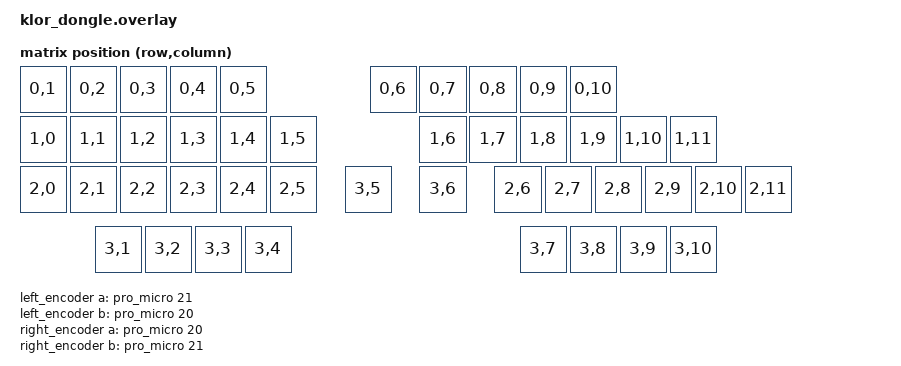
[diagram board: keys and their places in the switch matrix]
/*
 * Copyright (c) 2022 The ZMK Contributors
 *
 * SPDX-License-Identifier: MIT
 */

#include <dt-bindings/zmk/matrix_transform.h>
#include <dt-bindings/led/led.h>
#include <physical_layouts.dtsi>

/ {
	chosen {
		zmk,kscan = &mock_kscan;
		zmk,physical-layout = &default_layout;
		zmk,underglow = &led_strip;
	};

	mock_kscan: mock_kscan_0 {
		compatible = "zmk,kscan-mock";
		columns = <0>;
		rows = <0>;
		events = <0>;
	};

	// The dongle has no physical encoders, but the shared keymap's
	// &sensors {...} block (setting triggers-per-rotation) needs these
	// labels to resolve here too - central owns sensor-bindings, so it
	// needs the same zmk,keymap-sensors shape as the halves. Left
	// disabled; the a/b-gpios just reuse the same pro_micro pin refs
	// klor_common.dtsi uses so the alps,ec11 binding validates, even
	// though nothing is physically wired there on this board.
	left_encoder: encoder_left {
		compatible = "alps,ec11";
		label = "LEFT_ENCODER";
		a-gpios = <&pro_micro 21 (GPIO_ACTIVE_HIGH | GPIO_PULL_UP)>;
		b-gpios = <&pro_micro 20 (GPIO_ACTIVE_HIGH | GPIO_PULL_UP)>;
		steps = <30>;
		status = "disabled";
	};

	right_encoder: encoder_right {
		compatible = "alps,ec11";
		label = "RIGHT_ENCODER";
		a-gpios = <&pro_micro 20 (GPIO_ACTIVE_HIGH | GPIO_PULL_UP)>;
		b-gpios = <&pro_micro 21 (GPIO_ACTIVE_HIGH | GPIO_PULL_UP)>;
		steps = <30>;
		status = "disabled";
	};

	sensors: sensors {
		compatible = "zmk,keymap-sensors";
		sensors = <&left_encoder &right_encoder>;
	};

	// Haptic feedback send side - the dongle has no DRV2605/LRA of its
	// own, so lra0_relay is a proxy: triggering &ob_lra0 broadcasts to
	// both halves over BLE via zmk-split-peripheral-output-relay
	// (relay-channel 201, matching klor_common.dtsi's receive side on
	// each half - see MIGRATION_NOTES.md, untested end to end).
	lra0_relay: lra0_relay {
		compatible = "zmk,output-split-output-relay";
		#binding-cells = <0>;
	};

	output_relay_config_201: output_relay_config_201 {
		compatible = "zmk,split-peripheral-output-relay";
		device = <&lra0_relay>;
		relay-channel = <201>;
	};

	ob_lra0: ob_generic_lra0 {
		compatible = "zmk,output-behavior-generic";
		#binding-cells = <0>;
		device = <&lra0_relay>;
		/* 7 = "Soft Bump" at 100%, per zmk-output-behavior-listener's README */
		force = <7>;
	};

	// Piezo beep send side - same proxy pattern as the haptic relay
	// above, separate channel (202) so it doesn't collide with it.
	piezo0_relay: piezo0_relay {
		compatible = "zmk,output-split-output-relay";
		#binding-cells = <0>;
	};

	output_relay_config_202: output_relay_config_202 {
		compatible = "zmk,split-peripheral-output-relay";
		device = <&piezo0_relay>;
		relay-channel = <202>;
	};

	ob_piezo0: ob_generic_piezo0 {
		compatible = "zmk,output-behavior-generic";
		#binding-cells = <0>;
		device = <&piezo0_relay>;
		/* PWM duty cycle (0-256ish) driving the 2kHz tone set on the
		 * peripheral's pwm_piezo0 node - not a frequency, that's fixed
		 * at devicetree level on the receiving end. */
		force = <128>;
	};

	// Trigger on entering RAISE or LOWER: haptic buzz + piezo beep
	// together. Layer indices are klor.keymap's raw values (BASE=0
	// RAISE=1 LOWER=2 ADJUST=3) spelled out as plain integers - this
	// file is preprocessed separately from klor.keymap, so its
	// #defines aren't visible here. 1 = OUTPUT_SOURCE_LAYER_STATE_CHANGE.
	lra0_obl__enter_raise_or_lower: lra0_obl__enter_raise_or_lower {
		compatible = "zmk,output-behavior-listener";
		layers = <1 2>; /* RAISE, LOWER */
		sources = <1>;  /* OUTPUT_SOURCE_LAYER_STATE_CHANGE */
		bindings = <&ob_lra0 &ob_piezo0>;
	};

	// Must match klor.dtsi's default_transform exactly (same node name,
	// same map) - ZMK requires identical matrix transforms/physical
	// layouts, with identical devicetree node names, across every part
	// of a split. Not #included from klor.dtsi because the dongle has
	// no kscan0/oled/encoders to pull in along with it.
	default_transform: keymap_transform_0 {
		compatible = "zmk,matrix-transform";
		columns = <12>;
		rows = <4>;
		map = <
        RC(0,1) RC(0,2) RC(0,3) RC(0,4) RC(0,5)                 RC(0,6) RC(0,7) RC(0,8) RC(0,9) RC(0,10)
RC(1,0) RC(1,1) RC(1,2) RC(1,3) RC(1,4) RC(1,5)                 RC(1,6) RC(1,7) RC(1,8) RC(1,9) RC(1,10) RC(1,11)
RC(2,0) RC(2,1) RC(2,2) RC(2,3) RC(2,4) RC(2,5) RC(3,5) RC(3,6) RC(2,6) RC(2,7) RC(2,8) RC(2,9) RC(2,10) RC(2,11)
                        RC(3,1) RC(3,2) RC(3,3) RC(3,4) RC(3,7) RC(3,8) RC(3,9) RC(3,10)
		>;
	};

	// Same cosmetic caveat as klor.dtsi's copy - see MIGRATION_NOTES.md.
	// kscan here points at the mock kscan rather than a real one.
	default_layout: default_layout {
		compatible = "zmk,physical-layout";
		display-name = "Default";
		transform = <&default_transform>;
		kscan = <&mock_kscan>;
		keys  =
			<&key_physical_attrs 100 100    0   0 0 0 0>,
			<&key_physical_attrs 100 100  100   0 0 0 0>,
			<&key_physical_attrs 100 100  200   0 0 0 0>,
			<&key_physical_attrs 100 100  300   0 0 0 0>,
			<&key_physical_attrs 100 100  400   0 0 0 0>,
			<&key_physical_attrs 100 100  700   0 0 0 0>,
			<&key_physical_attrs 100 100  800   0 0 0 0>,
			<&key_physical_attrs 100 100  900   0 0 0 0>,
			<&key_physical_attrs 100 100 1000   0 0 0 0>,
			<&key_physical_attrs 100 100 1100   0 0 0 0>,
			<&key_physical_attrs 100 100    0 100 0 0 0>,
			<&key_physical_attrs 100 100  100 100 0 0 0>,
			<&key_physical_attrs 100 100  200 100 0 0 0>,
			<&key_physical_attrs 100 100  300 100 0 0 0>,
			<&key_physical_attrs 100 100  400 100 0 0 0>,
			<&key_physical_attrs 100 100  500 100 0 0 0>,
			<&key_physical_attrs 100 100  800 100 0 0 0>,
			<&key_physical_attrs 100 100  900 100 0 0 0>,
			<&key_physical_attrs 100 100 1000 100 0 0 0>,
			<&key_physical_attrs 100 100 1100 100 0 0 0>,
			<&key_physical_attrs 100 100 1200 100 0 0 0>,
			<&key_physical_attrs 100 100 1300 100 0 0 0>,
			<&key_physical_attrs 100 100    0 200 0 0 0>,
			<&key_physical_attrs 100 100  100 200 0 0 0>,
			<&key_physical_attrs 100 100  200 200 0 0 0>,
			<&key_physical_attrs 100 100  300 200 0 0 0>,
			<&key_physical_attrs 100 100  400 200 0 0 0>,
			<&key_physical_attrs 100 100  500 200 0 0 0>,
			<&key_physical_attrs 100 100  650 200 0 0 0>,
			<&key_physical_attrs 100 100  800 200 0 0 0>,
			<&key_physical_attrs 100 100  950 200 0 0 0>,
			<&key_physical_attrs 100 100 1050 200 0 0 0>,
			<&key_physical_attrs 100 100 1150 200 0 0 0>,
			<&key_physical_attrs 100 100 1250 200 0 0 0>,
			<&key_physical_attrs 100 100 1350 200 0 0 0>,
			<&key_physical_attrs 100 100 1450 200 0 0 0>,
			<&key_physical_attrs 100 100  150 320 0 0 0>,
			<&key_physical_attrs 100 100  250 320 0 0 0>,
			<&key_physical_attrs 100 100  350 320 0 0 0>,
			<&key_physical_attrs 100 100  450 320 0 0 0>,
			<&key_physical_attrs 100 100 1000 320 0 0 0>,
			<&key_physical_attrs 100 100 1100 320 0 0 0>,
			<&key_physical_attrs 100 100 1200 320 0 0 0>,
			<&key_physical_attrs 100 100 1300 320 0 0 0>;
	};
};

// The dongle has no LED strip, but rgb_underglow.c hard-requires a
// zmk,underglow chosen node to compile at all (confirmed via CI: same
// "#error must be declared" pattern as the DISPLAY chosen requirement
// hit earlier) - without this, CONFIG_ZMK_RGB_UNDERGLOW can't be
// enabled here, and RAISE's RGB_TOG/etc. silently no-op since there's
// no behavior code to run them. This placeholder satisfies the
// compiler on an SPI bus nothing else uses on this board; chain-length
// 1 means it's a single phantom LED that's never physically wired to
// anything, not a real strip. What matters is that RGB underglow's
// "global" split-sync behavior can now actually run FROM the dongle,
// relaying to the halves' real strips.
&pinctrl {
	spi3_default: spi3_default {
		group1 {
			psels = <NRF_PSEL(SPIM_MOSI, 0, 6)>;
		};
	};

	spi3_sleep: spi3_sleep {
		group1 {
			psels = <NRF_PSEL(SPIM_MOSI, 0, 6)>;
			low-power-enable;
		};
	};
};

&spi3 {
	compatible = "nordic,nrf-spim";
	status = "okay";

	pinctrl-0 = <&spi3_default>;
	pinctrl-1 = <&spi3_sleep>;
	pinctrl-names = "default", "sleep";

	led_strip: ws2812@0 {
		compatible = "worldsemi,ws2812-spi";
		reg = <0>;
		spi-max-frequency = <4000000>;
		chain-length = <1>;
		spi-one-frame = <0x70>;
		spi-zero-frame = <0x40>;
		color-mapping = <LED_COLOR_ID_GREEN
		                 LED_COLOR_ID_RED
		                 LED_COLOR_ID_BLUE>;
	};
};
